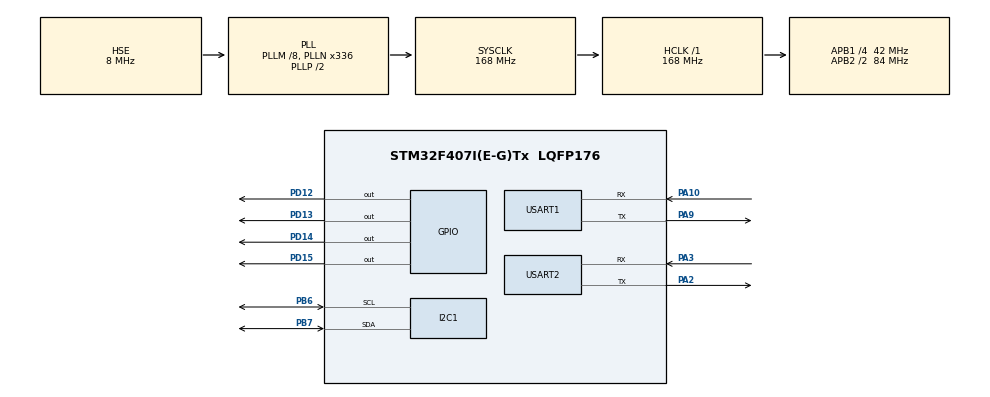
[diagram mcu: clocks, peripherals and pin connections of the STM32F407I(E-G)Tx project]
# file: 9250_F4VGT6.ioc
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Dma.Request0=USART2_TX
Dma.USART2_TX.0.Direction=DMA_MEMORY_TO_PERIPH
Dma.USART2_TX.0.FIFOMode=DMA_FIFOMODE_DISABLE
Dma.USART2_TX.0.Instance=DMA1_Stream6
Dma.USART2_TX.0.MemDataAlignment=DMA_MDATAALIGN_BYTE
Dma.USART2_TX.0.MemInc=DMA_MINC_ENABLE
Dma.USART2_TX.0.Mode=DMA_NORMAL
Dma.USART2_TX.0.PeriphDataAlignment=DMA_PDATAALIGN_BYTE
Dma.USART2_TX.0.PeriphInc=DMA_PINC_DISABLE
Dma.USART2_TX.0.Priority=DMA_PRIORITY_LOW
I2C1.I2C_Mode=I2C_Fast
Mcu.Family=STM32F4
Mcu.Name=STM32F407I(E-G)Tx
Mcu.Package=LQFP176
NVIC.DMA1_Stream6_IRQn=true\:0\:0\:false\:false\:true\:false\:true\:true
NVIC.PriorityGroup=NVIC_PRIORITYGROUP_4
NVIC.USART2_IRQn=true\:0\:0\:false\:false\:true\:true\:true\:true
PA0-WKUP.Mode=SYS_WakeUp0
PA0-WKUP.Signal=SYS_WKUP
PA10.Mode=Asynchronous
PA10.Signal=USART1_RX
PA13.Mode=Serial_Wire
PA13.Signal=SYS_JTMS-SWDIO
PA14.Mode=Serial_Wire
PA14.Signal=SYS_JTCK-SWCLK
PA2.Mode=Asynchronous
PA2.Signal=USART2_TX
PA3.Mode=Asynchronous
PA3.Signal=USART2_RX
PA9.Mode=Asynchronous
PA9.Signal=USART1_TX
PB6.Mode=I2C
PB6.Signal=I2C1_SCL
PB7.Mode=I2C
PB7.Signal=I2C1_SDA
PD12.GPIO_Speed=GPIO_SPEED_FREQ_MEDIUM
PD12.PinState=GPIO_PIN_RESET
PD12.Signal=GPIO_Output
PD13.Signal=GPIO_Output
PD14.Signal=GPIO_Output
PD15.Signal=GPIO_Output
PH0-OSC_IN.Mode=HSE-External-Oscillator
PH0-OSC_IN.Signal=RCC_OSC_IN
PH1-OSC_OUT.Mode=HSE-External-Oscillator
PH1-OSC_OUT.Signal=RCC_OSC_OUT
ProjectManager.HeapSize=0x200
ProjectManager.StackSize=0x400
ProjectManager.TargetToolchain=STM32CubeIDE
RCC.48MHZClocksFreq_Value=84000000
RCC.AHBFreq_Value=168000000
RCC.APB1CLKDivider=RCC_HCLK_DIV4
RCC.APB1Freq_Value=42000000
RCC.APB1TimFreq_Value=84000000
RCC.APB2CLKDivider=RCC_HCLK_DIV2
RCC.APB2Freq_Value=84000000
RCC.APB2TimFreq_Value=168000000
RCC.CortexFreq_Value=168000000
RCC.HCLKFreq_Value=168000000
RCC.HSE_VALUE=8000000
RCC.HSI_VALUE=16000000
RCC.LSE_VALUE=32768
RCC.PLLM=8
RCC.PLLN=336
RCC.PLLSourceVirtual=RCC_PLLSOURCE_HSE
RCC.SYSCLKFreq_VALUE=168000000
RCC.SYSCLKSource=RCC_SYSCLKSOURCE_PLLCLK
RCC.VCOOutputFreq_Value=336000000
TIM1.Period=65534
TIM1.Prescaler=169
USART1.VirtualMode=VM_ASYNC
USART2.VirtualMode=VM_ASYNC
VP_TIM1_VS_ClockSourceINT.Mode=Internal
board=custom

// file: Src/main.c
/* USER CODE BEGIN Header */
/**
 ******************************************************************************
 * @file           : main.c
 * @brief          : Main program body
 ******************************************************************************
 * @attention
 *
 * Copyright (c) 2024 STMicroelectronics.
 * All rights reserved.
 *
 * This software is licensed under terms that can be found in the LICENSE file
 * in the root directory of this software component.
 * If no LICENSE file comes with this software, it is provided AS-IS.
 *
 ******************************************************************************
 */
/* USER CODE END Header */
#include "main.h"

/* USER CODE BEGIN Includes */
#include <stdio.h>
#include "mpu9255.h"

/* USER CODE END Includes */

/* USER CODE BEGIN PD */
MPU9255_t MPU9255;

/* USER CODE END PD */

I2C_HandleTypeDef hi2c1;

TIM_HandleTypeDef htim1;

UART_HandleTypeDef huart1;
UART_HandleTypeDef huart2;
DMA_HandleTypeDef hdma_usart2_tx;

/* USER CODE BEGIN PV */
//#if defined(__GNUC__)

int _write(int file, char *ptr, int len)
{
  /* Implement your write code here, this is used by puts and printf for example */
  int i=0;
  for(i=0 ; i<len ; i++)
    ITM_SendChar((*ptr++));
  return len;
}

uint8_t Rx_Data[20], Tx_data[20] = "TK xinh dep";
uint8_t rx_flag = 0;
uint8_t uart_tx_flag = 0;
/* USER CODE END PV */

void SystemClock_Config(void);
static void MX_GPIO_Init(void);
static void MX_DMA_Init(void);
static void MX_I2C1_Init(void);
static void MX_TIM1_Init(void);
static void MX_USART1_UART_Init(void);
static void MX_USART2_UART_Init(void);

/* USER CODE BEGIN 0 */
float pitch1;
float yaw1;
float roll1;
int count;
char buffer[50];
float rollgy, pitchgy, yawgy;
float b[6];
float c[6];
float gyroBias[3]={0,0,0} ;
float accelBias[3]={0,0,0} ;
float   SelfTest[6];
/* USER CODE END 0 */

int main(void)
{

  /* MCU Configuration--------------------------------------------------------*/

  /* Reset of all peripherals, Initializes the Flash interface and the Systick. */
  HAL_Init();

  /* Configure the system clock */
  SystemClock_Config();

  /* Initialize all configured peripherals */
  MX_GPIO_Init();
  MX_DMA_Init();
  MX_I2C1_Init();
  MX_TIM1_Init();
  MX_USART1_UART_Init();
  MX_USART2_UART_Init();
  /* USER CODE BEGIN 2 */
	__HAL_TIM_SET_COUNTER(&htim1, 0);
	HAL_TIM_Base_Start(&htim1);
	while (MPU9255_Init(&hi2c1) == 1);
	HAL_Delay(3000);
	for (int i=0; i<6;i++){
		  b[i]=SelfTest[i];
	  }

	  for (int j=0; j<3;j++){
		  c[j]=accelBias[j];
		  c[j+3]=gyroBias[j];
	  }
  /* USER CODE END 2 */

  /* Infinite loop */
  /* USER CODE BEGIN WHILE */
	HAL_Delay(3000);

	while (1) {
    /* USER CODE END WHILE */

    /* USER CODE BEGIN 3 */

		readAll(&hi2c1, &MPU9255);

	  	pitch1 = MPU9255.pitch;
	  	yaw1 = MPU9255.yaw;
	  	roll1= MPU9255.roll;

 	  	rollgy = MPU9255.GyroX;
 	  	pitchgy = MPU9255.GyroY;
 	  	yawgy = MPU9255.GyroZ;
 	  	HAL_Delay(10);

        snprintf(buffer, sizeof(buffer), "%3.2f,%3.2f,%3.2f\r\n", yaw1, pitch1, roll1);
        HAL_UART_Transmit_DMA(&huart2, (uint8_t*)buffer, sizeof(buffer));

//Tx =PA3 Rx=PA2

		}

  /* USER CODE END 3 */
}

void SystemClock_Config(void)
{
  RCC_OscInitTypeDef RCC_OscInitStruct = {0};
  RCC_ClkInitTypeDef RCC_ClkInitStruct = {0};

  /** Configure the main internal regulator output voltage
  */
  __HAL_RCC_PWR_CLK_ENABLE();
  __HAL_PWR_VOLTAGESCALING_CONFIG(PWR_REGULATOR_VOLTAGE_SCALE1);

  /** Initializes the RCC Oscillators according to the specified parameters
  * in the RCC_OscInitTypeDef structure.
  */
  RCC_OscInitStruct.OscillatorType = RCC_OSCILLATORTYPE_HSE;
  RCC_OscInitStruct.HSEState = RCC_HSE_ON;
  RCC_OscInitStruct.PLL.PLLState = RCC_PLL_ON;
  RCC_OscInitStruct.PLL.PLLSource = RCC_PLLSOURCE_HSE;
  RCC_OscInitStruct.PLL.PLLM = 8;
  RCC_OscInitStruct.PLL.PLLN = 336;
  RCC_OscInitStruct.PLL.PLLP = RCC_PLLP_DIV2;
  RCC_OscInitStruct.PLL.PLLQ = 4;
  if (HAL_RCC_OscConfig(&RCC_OscInitStruct) != HAL_OK)
  {
    Error_Handler();
  }

  /** Initializes the CPU, AHB and APB buses clocks
  */
  RCC_ClkInitStruct.ClockType = RCC_CLOCKTYPE_HCLK|RCC_CLOCKTYPE_SYSCLK
                              |RCC_CLOCKTYPE_PCLK1|RCC_CLOCKTYPE_PCLK2;
  RCC_ClkInitStruct.SYSCLKSource = RCC_SYSCLKSOURCE_PLLCLK;
  RCC_ClkInitStruct.AHBCLKDivider = RCC_SYSCLK_DIV1;
  RCC_ClkInitStruct.APB1CLKDivider = RCC_HCLK_DIV4;
  RCC_ClkInitStruct.APB2CLKDivider = RCC_HCLK_DIV2;

  if (HAL_RCC_ClockConfig(&RCC_ClkInitStruct, FLASH_LATENCY_5) != HAL_OK)
  {
    Error_Handler();
  }
}

static void MX_I2C1_Init(void)
{

  hi2c1.Instance = I2C1;
  hi2c1.Init.ClockSpeed = 400000;
  hi2c1.Init.DutyCycle = I2C_DUTYCYCLE_2;
  hi2c1.Init.OwnAddress1 = 0;
  hi2c1.Init.AddressingMode = I2C_ADDRESSINGMODE_7BIT;
  hi2c1.Init.DualAddressMode = I2C_DUALADDRESS_DISABLE;
  hi2c1.Init.OwnAddress2 = 0;
  hi2c1.Init.GeneralCallMode = I2C_GENERALCALL_DISABLE;
  hi2c1.Init.NoStretchMode = I2C_NOSTRETCH_DISABLE;
  if (HAL_I2C_Init(&hi2c1) != HAL_OK)
  {
    Error_Handler();
  }

}

static void MX_TIM1_Init(void)
{

  TIM_ClockConfigTypeDef sClockSourceConfig = {0};
  TIM_MasterConfigTypeDef sMasterConfig = {0};

  htim1.Instance = TIM1;
  htim1.Init.Prescaler = 169;
  htim1.Init.CounterMode = TIM_COUNTERMODE_UP;
  htim1.Init.Period = 65534;
  htim1.Init.ClockDivision = TIM_CLOCKDIVISION_DIV1;
  htim1.Init.RepetitionCounter = 0;
  htim1.Init.AutoReloadPreload = TIM_AUTORELOAD_PRELOAD_DISABLE;
  if (HAL_TIM_Base_Init(&htim1) != HAL_OK)
  {
    Error_Handler();
  }
  sClockSourceConfig.ClockSource = TIM_CLOCKSOURCE_INTERNAL;
  if (HAL_TIM_ConfigClockSource(&htim1, &sClockSourceConfig) != HAL_OK)
  {
    Error_Handler();
  }
  sMasterConfig.MasterOutputTrigger = TIM_TRGO_RESET;
  sMasterConfig.MasterSlaveMode = TIM_MASTERSLAVEMODE_DISABLE;
  if (HAL_TIMEx_MasterConfigSynchronization(&htim1, &sMasterConfig) != HAL_OK)
  {
    Error_Handler();
  }

}

static void MX_USART1_UART_Init(void)
{

  huart1.Instance = USART1;
  huart1.Init.BaudRate = 115200;
  huart1.Init.WordLength = UART_WORDLENGTH_8B;
  huart1.Init.StopBits = UART_STOPBITS_1;
  huart1.Init.Parity = UART_PARITY_NONE;
  huart1.Init.Mode = UART_MODE_TX_RX;
  huart1.Init.HwFlowCtl = UART_HWCONTROL_NONE;
  huart1.Init.OverSampling = UART_OVERSAMPLING_16;
  if (HAL_UART_Init(&huart1) != HAL_OK)
  {
    Error_Handler();
  }

}

static void MX_USART2_UART_Init(void)
{

  huart2.Instance = USART2;
  huart2.Init.BaudRate = 115200;
  huart2.Init.WordLength = UART_WORDLENGTH_8B;
  huart2.Init.StopBits = UART_STOPBITS_1;
  huart2.Init.Parity = UART_PARITY_NONE;
  huart2.Init.Mode = UART_MODE_TX_RX;
  huart2.Init.HwFlowCtl = UART_HWCONTROL_NONE;
  huart2.Init.OverSampling = UART_OVERSAMPLING_16;
  if (HAL_UART_Init(&huart2) != HAL_OK)
  {
    Error_Handler();
  }

}

static void MX_DMA_Init(void)
{

  /* DMA controller clock enable */
  __HAL_RCC_DMA1_CLK_ENABLE();

  /* DMA interrupt init */
  /* DMA1_Stream6_IRQn interrupt configuration */
  HAL_NVIC_SetPriority(DMA1_Stream6_IRQn, 0, 0);
  HAL_NVIC_EnableIRQ(DMA1_Stream6_IRQn);

}

static void MX_GPIO_Init(void)
{
  GPIO_InitTypeDef GPIO_InitStruct = {0};

  /* GPIO Ports Clock Enable */
  __HAL_RCC_GPIOH_CLK_ENABLE();
  __HAL_RCC_GPIOA_CLK_ENABLE();
  __HAL_RCC_GPIOD_CLK_ENABLE();
  __HAL_RCC_GPIOB_CLK_ENABLE();

  /*Configure GPIO pin Output Level */
  HAL_GPIO_WritePin(GPIOD, GPIO_PIN_12|GPIO_PIN_13|GPIO_PIN_14|GPIO_PIN_15, GPIO_PIN_RESET);

  /*Configure GPIO pin : PD12 */
  GPIO_InitStruct.Pin = GPIO_PIN_12;
  GPIO_InitStruct.Mode = GPIO_MODE_OUTPUT_PP;
  GPIO_InitStruct.Pull = GPIO_NOPULL;
  GPIO_InitStruct.Speed = GPIO_SPEED_FREQ_MEDIUM;
  HAL_GPIO_Init(GPIOD, &GPIO_InitStruct);

  /*Configure GPIO pins : PD13 PD14 PD15 */
  GPIO_InitStruct.Pin = GPIO_PIN_13|GPIO_PIN_14|GPIO_PIN_15;
  GPIO_InitStruct.Mode = GPIO_MODE_OUTPUT_PP;
  GPIO_InitStruct.Pull = GPIO_NOPULL;
  GPIO_InitStruct.Speed = GPIO_SPEED_FREQ_LOW;
  HAL_GPIO_Init(GPIOD, &GPIO_InitStruct);

}

/* USER CODE BEGIN 4 */
//void HAL_UART_TxCpltCallback(UART_HandleTypeDef *huart) {
//	snprintf(buffer, sizeof(buffer), "AB%3.2f,%3.2f,%3.2f\r\n", yaw1, pitch1, roll1);
//	HAL_UART_Transmit_DMA(&huart2, (uint8_t*)buffer, sizeof(buffer));
//}
/* USER CODE END 4 */

void Error_Handler(void)
{
	__disable_irq();
	while (1) {
	}
}
